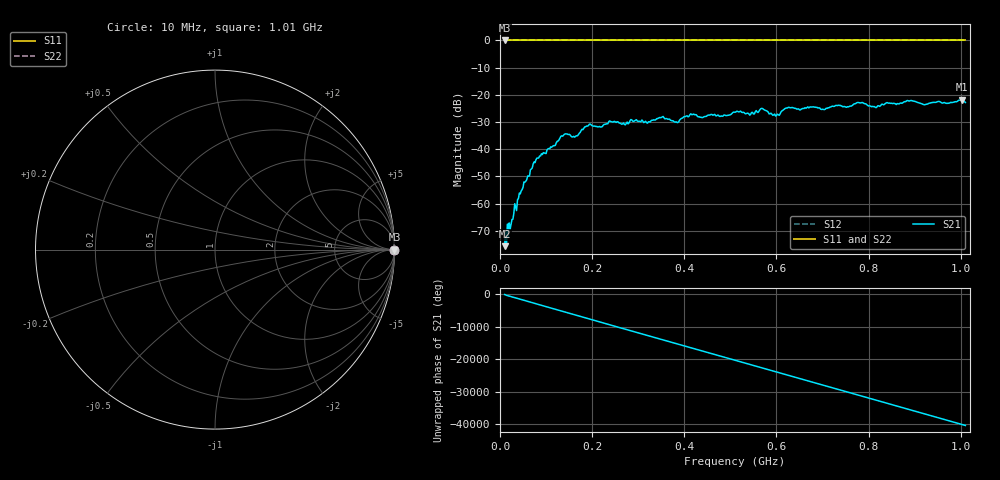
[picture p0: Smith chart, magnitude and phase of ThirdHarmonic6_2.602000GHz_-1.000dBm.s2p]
! 8/17/2025 5:38:36 AM
! C:\ANRITSUVNA\TEMP\TEMP.S2P
! CHANNEL.1
! TR.MEASUREMENT
! RAW.DATA
! RF.CORRECTION.OFF
! AVERAGING.OFF
! IF.BANDWIDTH: 5KHZ
! SWEEPTYPE:  FREQ.SWEEP(Linear)
! Reference Plane Port Info
! PORT:  PORT1  PORT2
! DISTANCE:  0  m  0  m
! TIME:  0  s  0  s
! PHASE.OFFSET:  0  deg.  0  deg.
! LOSS:  0  dB  0  dB
! REF.LOSS:  0  dB  0  dB
! REF.FREQ:  0  Hz  0  Hz
! Power Info
! POWER:  -20  dBm  -20  dBm
! EFF.POWER:  -20  dBm  -20  dBm
! SOURCE.ATTEN:  0  dB  0  dB
! TEST.ATTEN:  0  dB  0  dB
# GHZ S RI R 50.0
! FREQ.GHZ  S11RE  S11IM  S21RE  S21IM  S12RE  S12IM  S22RE  S22IM
!; PortSelection: Port_12
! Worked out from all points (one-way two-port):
!   501 points, 10 MHz to 1.01 GHz, reference 50 ohm
!   highest |S21| = -21.76 dB at 1.002 GHz (marker M1); lowest = -75.6 dB at 10 MHz (marker M2)
!   lowest |S11| = 0.0 dB at 10 MHz (marker M3)
!   |S11| at or under -10 dB: nowhere
!   |S22| runs from 0.0 to 0.0 dB; largest |S21 - S12| = 1.1
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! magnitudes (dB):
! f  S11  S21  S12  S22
! 10 MHz  0.0  -75.6  0.0  0.0
! 42 MHz  0.0  -56.1  0.0  0.0
! 76 MHz  0.0  -44.9  0.0  0.0
! 136 MHz  0.0  -35.2  0.0  0.0
! 164 MHz  0.0  -35.2  0.0  0.0
! 178 MHz  0.0  -32.6  0.0  0.0
! 240 MHz  0.0  -29.8  0.0  0.0
! 268 MHz  0.0  -30.3  0.0  0.0
! 344 MHz  0.0  -28.6  0.0  0.0
! 384 MHz  0.0  -30.1  0.0  0.0
! 416 MHz  0.0  -27.3  0.0  0.0
! 438 MHz  0.0  -28.3  0.0  0.0
! 510 MHz  0.0  -26.4  0.0  0.0
! 546 MHz  0.0  -26.5  0.0  0.0
! 570 MHz  0.0  -25.1  0.0  0.0
! 602 MHz  0.0  -27.1  0.0  0.0
! 624 MHz  0.0  -24.8  0.0  0.0
! 678 MHz  0.0  -24.5  0.0  0.0
! 814 MHz  0.0  -24.5  0.0  0.0
! 844 MHz  0.0  -23.0  0.0  0.0
! 1.002 GHz  0.0  -21.8  0.0  0.0
! 1.01 GHz  0.0  -22.8  0.0  0.0
